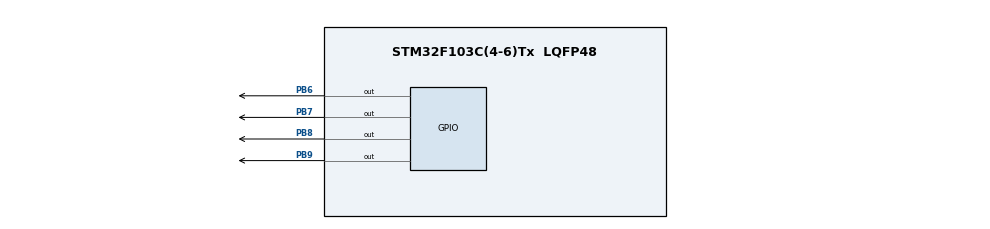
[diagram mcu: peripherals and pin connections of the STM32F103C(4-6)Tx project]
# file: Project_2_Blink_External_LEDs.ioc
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Mcu.Family=STM32F1
Mcu.Name=STM32F103C(4-6)Tx
Mcu.Package=LQFP48
NVIC.PriorityGroup=NVIC_PRIORITYGROUP_4
PA13.Mode=Serial_Wire
PA13.Signal=SYS_JTMS-SWDIO
PA14.Mode=Serial_Wire
PA14.Signal=SYS_JTCK-SWCLK
PB6.Signal=GPIO_Output
PB7.Signal=GPIO_Output
PB8.Signal=GPIO_Output
PB9.Signal=GPIO_Output
ProjectManager.HeapSize=0x200
ProjectManager.StackSize=0x400
ProjectManager.TargetToolchain=STM32CubeIDE
RCC.APB1Freq_Value=8000000
RCC.APB2Freq_Value=8000000
board=custom

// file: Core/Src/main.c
/* USER CODE BEGIN Header */
/**
  ******************************************************************************
  * @file           : main.c
  * @brief          : Main program body
  ******************************************************************************
  * @attention
  *
  * Copyright (c) 2025 STMicroelectronics.
  * All rights reserved.
  *
  * This software is licensed under terms that can be found in the LICENSE file
  * in the root directory of this software component.
  * If no LICENSE file comes with this software, it is provided AS-IS.
  *
  ******************************************************************************
  */
/* USER CODE END Header */
#include "main.h"

void SystemClock_Config(void);
static void MX_GPIO_Init(void);

int main(void)
{

  /* MCU Configuration--------------------------------------------------------*/

  /* Reset of all peripherals, Initializes the Flash interface and the Systick. */
  HAL_Init();

  /* Configure the system clock */
  SystemClock_Config();

  /* Initialize all configured peripherals */
  MX_GPIO_Init();

  /* Infinite loop */
  /* USER CODE BEGIN WHILE */
  while (1)
  {
	  //Turn on all LEDs
	  HAL_GPIO_WritePin(GPIOB,GPIO_PIN_9,1);
	  HAL_GPIO_WritePin(GPIOB,GPIO_PIN_8,1);
	  HAL_GPIO_WritePin(GPIOB,GPIO_PIN_7,1);
	  HAL_GPIO_WritePin(GPIOB,GPIO_PIN_6,1);
	  HAL_Delay(1000);
	  //Alternate-1
	  HAL_GPIO_WritePin(GPIOB,GPIO_PIN_9,1);
	  HAL_GPIO_WritePin(GPIOB,GPIO_PIN_8,0);
	  HAL_GPIO_WritePin(GPIOB,GPIO_PIN_7,1);
	  HAL_GPIO_WritePin(GPIOB,GPIO_PIN_6,0);
	  HAL_Delay(1000);
	  //Alternate-2
	  HAL_GPIO_WritePin(GPIOB,GPIO_PIN_9,0);
	  HAL_GPIO_WritePin(GPIOB,GPIO_PIN_8,1);
	  HAL_GPIO_WritePin(GPIOB,GPIO_PIN_7,0);
	  HAL_GPIO_WritePin(GPIOB,GPIO_PIN_6,1);
	  HAL_Delay(1000);
	  //Turn off all LEDs
	  HAL_GPIO_WritePin(GPIOB,GPIO_PIN_9,0);
	  HAL_GPIO_WritePin(GPIOB,GPIO_PIN_8,0);
	  HAL_GPIO_WritePin(GPIOB,GPIO_PIN_7,0);
	  HAL_GPIO_WritePin(GPIOB,GPIO_PIN_6,0);
	  HAL_Delay(1000);
    /* USER CODE END WHILE */

  }
}

void SystemClock_Config(void)
{
  RCC_OscInitTypeDef RCC_OscInitStruct = {0};
  RCC_ClkInitTypeDef RCC_ClkInitStruct = {0};

  /** Initializes the RCC Oscillators according to the specified parameters
  * in the RCC_OscInitTypeDef structure.
  */
  RCC_OscInitStruct.OscillatorType = RCC_OSCILLATORTYPE_HSI;
  RCC_OscInitStruct.HSIState = RCC_HSI_ON;
  RCC_OscInitStruct.HSICalibrationValue = RCC_HSICALIBRATION_DEFAULT;
  RCC_OscInitStruct.PLL.PLLState = RCC_PLL_NONE;
  if (HAL_RCC_OscConfig(&RCC_OscInitStruct) != HAL_OK)
  {
    Error_Handler();
  }

  /** Initializes the CPU, AHB and APB buses clocks
  */
  RCC_ClkInitStruct.ClockType = RCC_CLOCKTYPE_HCLK|RCC_CLOCKTYPE_SYSCLK
                              |RCC_CLOCKTYPE_PCLK1|RCC_CLOCKTYPE_PCLK2;
  RCC_ClkInitStruct.SYSCLKSource = RCC_SYSCLKSOURCE_HSI;
  RCC_ClkInitStruct.AHBCLKDivider = RCC_SYSCLK_DIV1;
  RCC_ClkInitStruct.APB1CLKDivider = RCC_HCLK_DIV1;
  RCC_ClkInitStruct.APB2CLKDivider = RCC_HCLK_DIV1;

  if (HAL_RCC_ClockConfig(&RCC_ClkInitStruct, FLASH_LATENCY_0) != HAL_OK)
  {
    Error_Handler();
  }
}

static void MX_GPIO_Init(void)
{
  GPIO_InitTypeDef GPIO_InitStruct = {0};

  /* GPIO Ports Clock Enable */
  __HAL_RCC_GPIOA_CLK_ENABLE();
  __HAL_RCC_GPIOB_CLK_ENABLE();

  /*Configure GPIO pin Output Level */
  HAL_GPIO_WritePin(GPIOB, GPIO_PIN_6|GPIO_PIN_7|GPIO_PIN_8|GPIO_PIN_9, GPIO_PIN_RESET);

  /*Configure GPIO pins : PB6 PB7 PB8 PB9 */
  GPIO_InitStruct.Pin = GPIO_PIN_6|GPIO_PIN_7|GPIO_PIN_8|GPIO_PIN_9;
  GPIO_InitStruct.Mode = GPIO_MODE_OUTPUT_PP;
  GPIO_InitStruct.Pull = GPIO_NOPULL;
  GPIO_InitStruct.Speed = GPIO_SPEED_FREQ_LOW;
  HAL_GPIO_Init(GPIOB, &GPIO_InitStruct);

}

void Error_Handler(void)
{
  __disable_irq();
  while (1)
  {
  }
}
